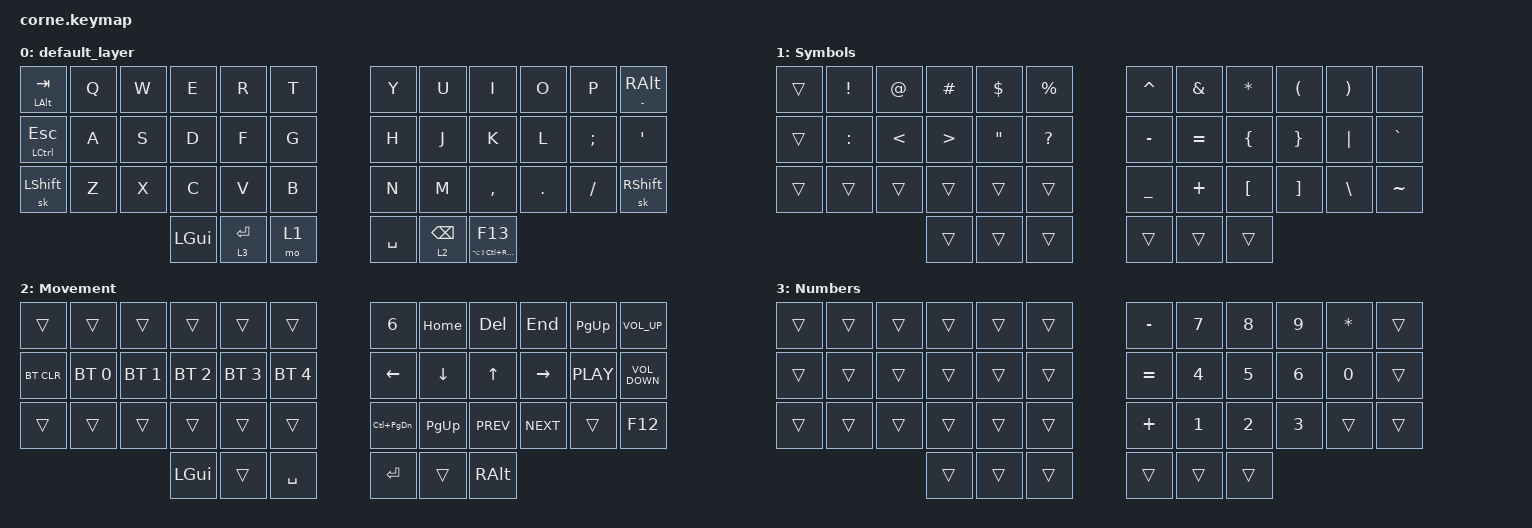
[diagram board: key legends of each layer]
/*
 * Copyright (c) 2020 The ZMK Contributors
 *
 * SPDX-License-Identifier: MIT
 */

#include <behaviors.dtsi>
#include <dt-bindings/zmk/bt.h>
#include <dt-bindings/zmk/keys.h>

/ {
    combos {
        compatible = "zmk,combos";

        caps_word {
            bindings = <&caps_word>;
            key-positions = <24 35>;
        };
    };

    keymap {
        compatible = "zmk,keymap";

        default_layer {
            // -----------------------------------------------------------------------------------------
            // |  TAB |  Q  |  W  |  E  |  R  |  T  |   |  Y  |  U   |  I  |  O  |  P  | BSPC |
            // | CTRL |  A  |  S  |  D  |  F  |  G  |   |  H  |  J   |  K  |  L  |  ;  |  '   |
            // | SHFT |  Z  |  X  |  C  |  V  |  B  |   |  N  |  M   |  ,  |  .  |  /  | ESC  |
            //                    | GUI | LWR | SPC |   | ENT | RSE  | ALT |

            bindings = <
&mt LEFT_ALT TAB  &kp Q  &kp W  &kp E     &kp R         &kp T    &kp Y      &kp U            &kp I                          &kp O    &kp P     &mt MINUS RIGHT_ALT
&mt LCTRL ESCAPE  &kp A  &kp S  &kp D     &kp F         &kp G    &kp H      &kp J            &kp K                          &kp L    &kp SEMI  &kp SQT
&sk LSHFT         &kp Z  &kp X  &kp C     &kp V         &kp B    &kp N      &kp M            &kp COMMA                      &kp DOT  &kp FSLH  &sk RIGHT_SHIFT
                                &kp LGUI  &lt 3 RETURN  &mo 1    &kp SPACE  &lt 2 BACKSPACE  &mt LA(LS(LC(RIGHT_GUI))) F13
            >;
        };

        Symbols {
            // -----------------------------------------------------------------------------------------
            // |  TAB |  !  |  @  |  #  |  $  |  %  |   |  ^  |  &  |  *  |  (  |  )  | BSPC |
            // | CTRL |     |     |     |     |     |   |  -  |  =  |  [  |  ]  |  \  |  `   |
            // | SHFT |     |     |     |     |     |   |  _  |  +  |  {  |  }  | "|" |  ~   |
            //                    | GUI |     | SPC |   | ENT |     | ALT |

            bindings = <
&trans  &kp EXCL   &kp AT  &kp HASH  &kp DLLR           &kp PRCNT       &kp CARET  &kp AMPS   &kp ASTRK  &kp LPAR  &kp RPAR       &none
&trans  &kp COLON  &kp LT  &kp GT    &kp DOUBLE_QUOTES  &kp QUESTION    &kp MINUS  &kp EQUAL  &kp LBRC   &kp RBRC  &kp PIPE       &kp GRAVE
&trans  &trans     &trans  &trans    &trans             &trans          &kp UNDER  &kp PLUS   &kp LBKT   &kp RBKT  &kp BACKSLASH  &kp TILDE
                           &trans    &trans             &trans          &trans     &trans     &trans
            >;
        };

        Movement {
            // -----------------------------------------------------------------------------------------
            // |  TAB |  1  |  2  |  3  |  4  |  5  |   |  6  |  7  |  8  |  9  |  0  | BSPC |
            // | BTCLR| BT1 | BT2 | BT3 | BT4 | BT5 |   | LFT | DWN |  UP | RGT |     |      |
            // | SHFT |     |     |     |     |     |   |     |     |     |     |     |      |
            //                    | GUI |     | SPC |   | ENT |     | ALT |

            bindings = <
&trans      &trans        &trans        &trans        &trans        &trans          &kp N6             &kp HOME     &kp DELETE  &kp END     &kp PAGE_UP  &kp C_VOLUME_UP
&bt BT_CLR  &bt BT_SEL 0  &bt BT_SEL 1  &bt BT_SEL 2  &bt BT_SEL 3  &bt BT_SEL 4    &kp LEFT           &kp DOWN     &kp UP      &kp RIGHT   &kp C_PLAY   &kp C_VOLUME_DOWN
&trans      &trans        &trans        &trans        &trans        &trans          &kp LC(PAGE_DOWN)  &kp PAGE_UP  &kp C_PREV  &kp C_NEXT  &trans       &kp F12
                                        &kp LGUI      &trans        &kp SPACE       &kp RET            &trans       &kp RALT
            >;
        };

        Numbers {
            bindings = <
&trans  &trans  &trans  &trans  &trans  &trans    &kp MINUS  &kp NUMBER_7  &kp NUMBER_8  &kp NUMBER_9  &kp ASTRK     &trans
&trans  &trans  &trans  &trans  &trans  &trans    &kp EQUAL  &kp NUMBER_4  &kp NUMBER_5  &kp NUMBER_6  &kp NUMBER_0  &trans
&trans  &trans  &trans  &trans  &trans  &trans    &kp PLUS   &kp NUMBER_1  &kp NUMBER_2  &kp NUMBER_3  &trans        &trans
                        &trans  &trans  &trans    &trans     &trans        &trans
            >;
        };
    };
};
